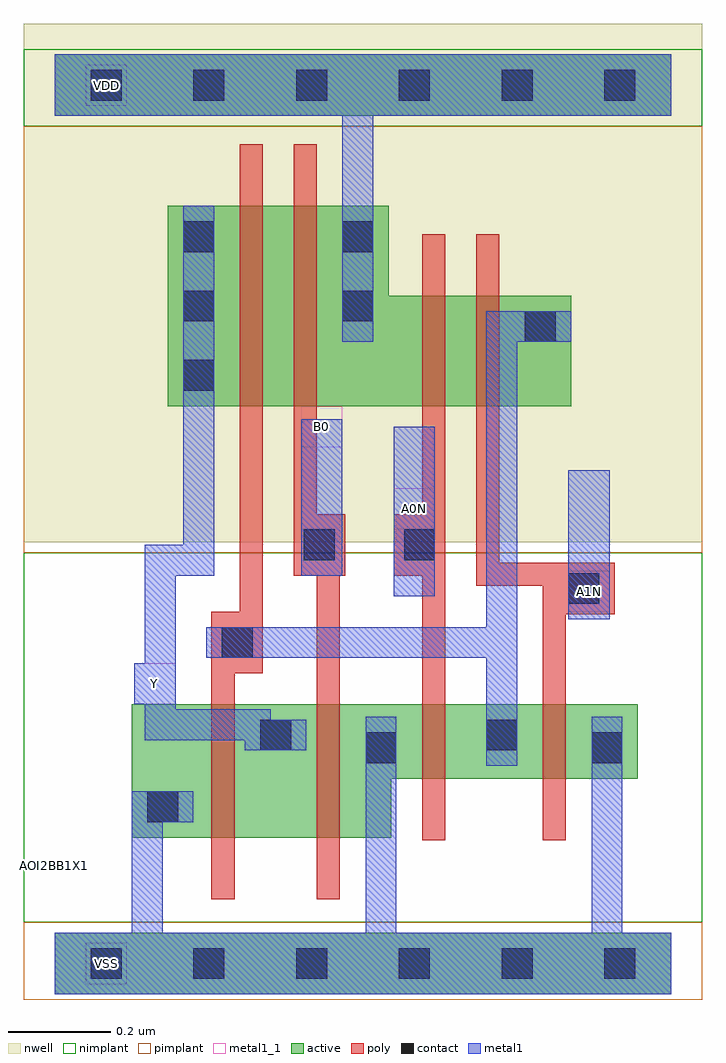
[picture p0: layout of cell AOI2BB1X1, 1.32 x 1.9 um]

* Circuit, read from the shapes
.subckt AOI2BB1X1 A0N A1N B0 VDD VSS Y
M1 Y n1 VSS VSS nfet w=0.26u l=0.045u
M2 VSS B0 Y VSS nfet w=0.26u l=0.045u
M3 n1 A0N VSS VSS nfet w=0.145u l=0.045u
M4 VSS A1N n1 VSS nfet w=0.145u l=0.045u
M5 n2 n1 Y VDD pfet w=0.39u l=0.045u
M6 VDD B0 n2 VDD pfet w=0.39u l=0.045u
M7 n3 A0N VDD VDD pfet w=0.215u l=0.045u
M8 n1 A1N n3 VDD pfet w=0.215u l=0.045u
.ends

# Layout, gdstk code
import gdstk
lib = gdstk.Library(unit=1e-6, precision=5e-10)
def R(c, l, rs):  # rectangles x0, y0, x1, y1
    for r in rs: c.add(gdstk.rectangle(r[:2], r[2:], *l))
def A(c, l, x, y, w, h, nx, ny, dx, dy):  # array of equal rectangles
    R(c, l, [(x+i*dx, y+j*dy, x+i*dx+w, y+j*dy+h) for i in range(nx) for j in range(ny)])
def P(c, l, *ps):  # polygons
    for p in ps: c.add(gdstk.Polygon(p, *l))
active = (1, 0)
nwell = (2, 0)
poly = (3, 0)
nimplant = (4, 0)
pimplant = (5, 0)
contact = (6, 0)
metal1 = (7, 0)
metal1_1 = (7, 1)

aoi2bb1x1 = lib.new_cell('AOI2BB1X1')
R(aoi2bb1x1, active, [(0,-0.06,1.2,0.06), (0,1.65,1.2,1.77)])
P(aoi2bb1x1, active, [(0.22,1.475),(0.65,1.475),(0.65,1.3),(1.005,1.3),(1.005,1.085),(0.22,1.085)],
  [(0.15,0.505),(1.135,0.505),(1.135,0.36),(0.655,0.36),(0.655,0.245),(0.15,0.245)])
R(aoi2bb1x1, nwell, [(-0.06,0.82,1.26,1.83)])
P(aoi2bb1x1, poly, [(0.36,1.595),(0.405,1.595),(0.405,0.565),(0.35,0.565),(0.35,0.125),(0.305,0.125),(0.305,0.685),(0.36,0.685)],
  [(0.465,1.595),(0.51,1.595),(0.51,0.875),(0.565,0.875),(0.565,0.755),(0.555,0.755),(0.555,0.125),(0.51,0.125),(0.51,0.755),(0.465,0.755)],
  [(0.715,1.42),(0.76,1.42),(0.76,0.24),(0.715,0.24),(0.715,0.755),(0.66,0.755),(0.66,0.875),(0.715,0.875)],
  [(0.82,1.42),(0.865,1.42),(0.865,0.78),(1.09,0.78),(1.09,0.68),(0.995,0.68),(0.995,0.24),(0.95,0.24),(0.95,0.735),(0.82,0.735)])
R(aoi2bb1x1, nimplant, [(-0.06,0.08,1.26,0.8), (-0.06,1.63,1.26,1.78)])
R(aoi2bb1x1, pimplant, [(-0.06,-0.07,1.26,0.08), (-0.06,0.8,1.26,1.63)])
A(aoi2bb1x1, contact, 0.07, -0.03, 0.06, 0.06, 6, 2, 0.2, 1.71)
A(aoi2bb1x1, contact, 0.25, 1.115, 0.06, 0.06, 1, 3, 0, 0.135)
R(aoi2bb1x1, contact, [(0.18,0.275,0.24,0.335), (0.605,0.39,0.665,0.45), (1.045,0.39,1.105,0.45), (0.4,0.415,0.46,0.475), (0.84,0.415,0.9,0.475), (0.325,0.595,0.385,0.655), (1,0.7,1.06,0.76), (0.485,0.785,0.545,0.845), (0.68,0.785,0.74,0.845), (0.915,1.21,0.975,1.27), (0.56,1.25,0.62,1.31), (0.56,1.385,0.62,1.445)])
R(aoi2bb1x1, metal1, [(1,0.67,1.08,0.96), (0.66,0.715,0.74,1.045), (0.48,0.755,0.56,1.06)])
P(aoi2bb1x1, metal1, [(0,1.77),(1.2,1.77),(1.2,1.65),(0.62,1.65),(0.62,1.21),(0.56,1.21),(0.56,1.65),(0,1.65)],
  [(0.25,1.475),(0.31,1.475),(0.31,0.755),(0.235,0.755),(0.235,0.495),(0.42,0.495),(0.42,0.475),(0.49,0.475),(0.49,0.415),(0.37,0.415),(0.37,0.435),(0.175,0.435),(0.175,0.505),(0.155,0.505),(0.155,0.585),(0.175,0.585),(0.175,0.815),(0.25,0.815)],
  [(0.84,1.27),(1.005,1.27),(1.005,1.21),(0.9,1.21),(0.9,0.385),(0.84,0.385),(0.84,0.595),(0.295,0.595),(0.295,0.655),(0.84,0.655)],
  [(0.15,0.335),(0.27,0.335),(0.27,0.275),(0.21,0.275),(0.21,0.06),(0.605,0.06),(0.605,0.48),(0.665,0.48),(0.665,0.06),(1.045,0.06),(1.045,0.48),(1.105,0.48),(1.105,0.06),(1.2,0.06),(1.2,-0.06),(0,-0.06),(0,0.06),(0.15,0.06)])
R(aoi2bb1x1, metal1_1, [(0.06,-0.04,0.14,0.04), (0.155,0.505,0.235,0.585), (1,0.685,1.08,0.765), (0.66,0.845,0.74,0.925), (0.48,1.005,0.56,1.085), (0.06,1.67,0.14,1.75)])
aoi2bb1x1.add(gdstk.Label('A0N', (0.7,0.885), layer=7, texttype=1))
aoi2bb1x1.add(gdstk.Label('VSS', (0.1,0), layer=7, texttype=1))
aoi2bb1x1.add(gdstk.Label('Y', (0.195,0.545), layer=7, texttype=1))
aoi2bb1x1.add(gdstk.Label('B0', (0.52,1.045), layer=7, texttype=1))
aoi2bb1x1.add(gdstk.Label('A1N', (1.04,0.725), layer=7, texttype=1))
aoi2bb1x1.add(gdstk.Label('VDD', (0.1,1.71), layer=7, texttype=1))
aoi2bb1x1.add(gdstk.Label('AOI2BB1X1', (0,0.19), layer=63, texttype=0))

lib.write_gds('AOI2BB1X1.gds')
